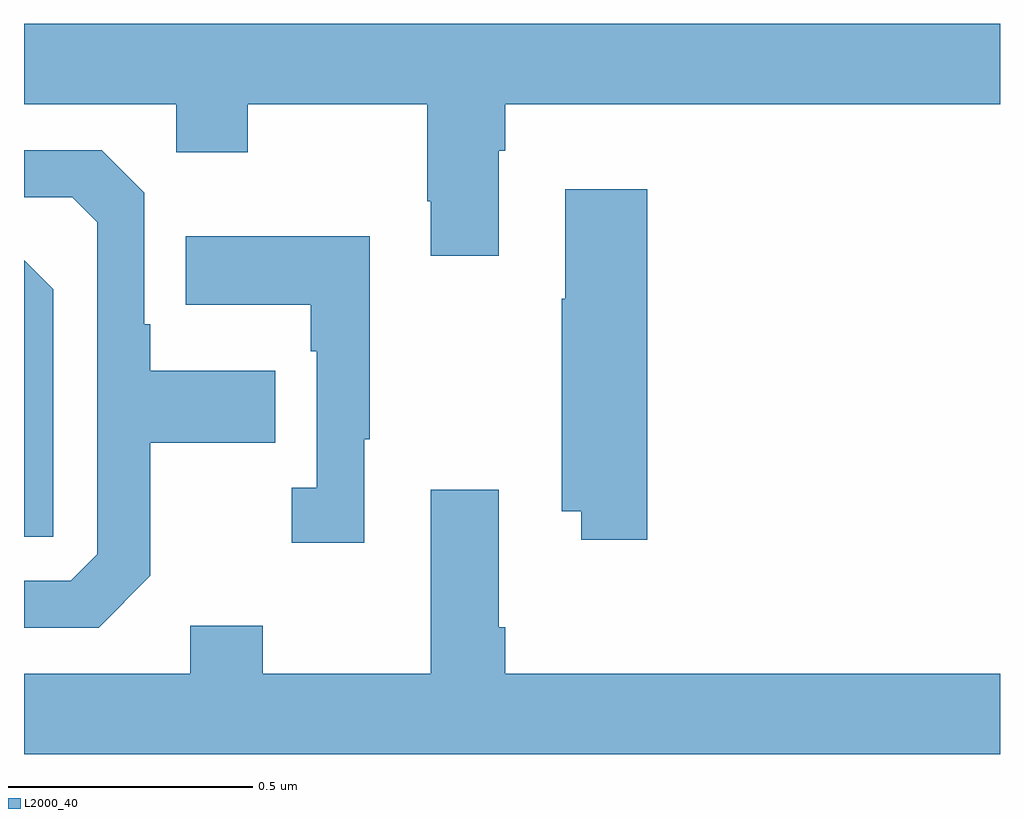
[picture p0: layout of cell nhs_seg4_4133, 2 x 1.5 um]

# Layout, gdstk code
import gdstk
lib = gdstk.Library(unit=1e-6, precision=1e-09)
def P(c, l, *ps):  # polygons
    for p in ps: c.add(gdstk.Polygon(p, *l))
L2000_40 = (2000, 40)

nhs_seg4_4133 = lib.new_cell('nhs_seg4_4133')
P(nhs_seg4_4133, L2000_40, [(162.973,763.424),(162.986,763.424),(162.986,763.52),(164,763.52),(164,763.684),(162,763.684),(162,763.52),(162.312,763.52),(162.312,763.421),(162.459,763.421),(162.459,763.52),(162.826,763.52),(162.826,763.321),(162.833,763.321),(162.833,763.209),(162.973,763.209)],
  [(162.259,762.553),(162.259,762.826),(162.515,762.826),(162.515,762.973),(162.259,762.973),(162.259,763.069),(162.246,763.069),(162.246,763.338),(162.159,763.425),(162,763.425),(162,763.329),(162.099,763.329),(162.15,763.278),(162.15,762.597),(162.096,762.543),(162,762.543),(162,762.447),(162.153,762.447)],
  [(163.277,763.345),(163.109,763.345),(163.109,763.121),(163.102,763.121),(163.102,762.686),(163.142,762.686),(163.142,762.627),(163.277,762.627)],
  [(162.697,762.833),(162.709,762.833),(162.709,763.249),(162.331,763.249),(162.331,763.109),(162.588,763.109),(162.588,763.013),(162.6,763.013),(162.6,762.734),(162.549,762.734),(162.549,762.621),(162.697,762.621)],
  [(162.06,763.14),(162,763.2),(162,762.633),(162.06,762.633)],
  [(164,762.352),(162.986,762.352),(162.986,762.448),(162.973,762.448),(162.973,762.73),(162.833,762.73),(162.833,762.352),(162.489,762.352),(162.489,762.451),(162.341,762.451),(162.341,762.352),(162,762.352),(162,762.188),(164,762.188)])

lib.write_gds('nhs_seg4_4133.gds')
